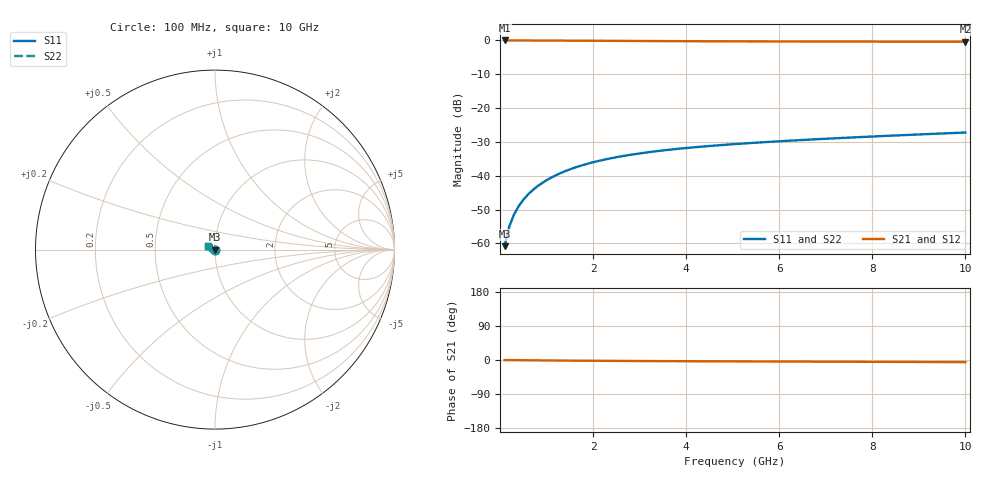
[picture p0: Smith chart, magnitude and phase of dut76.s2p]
! Touchstone file exported from HFSS 2024.1.0
!  File:  C:/UserFiles/LocalFiles/RDL_TSV_Batchsim/temp_TSV1_76_1779374478.aedt
!  Generated:  10:47:15 PM May 21, 2026
!  Design:  TSV1
!  Project:  temp_TSV1_76_1779374478
!  Setup:  Setup1
!  Solution:  Sweep
! Variables:
!  dtsv = 7.73um
!  hbump = 3um
!  htsv = 83.76um
!  lrdl = 252.1521522um
!  p = 40
!  p1 = 56.11um
!  t = 500um
!  trdl = 3um
!  wrdl = 24.89489489um
# GHz S MA R 50.000000
! Terminal data exported
! Port[1] = TSV22_T1
! Port[2] = TSV22_T2
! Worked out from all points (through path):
!   100 points, 100 MHz to 10 GHz, reference 50 ohm
!   highest |S21| = 0.00 dB at 100 MHz (marker M1); lowest = -0.4 dB at 10 GHz (marker M2)
!   lowest |S11| = -60.8 dB at 100 MHz (marker M3), VSWR 1.00, Z = 50 - j0.0884 ohm
!   |S11| at or under -10 dB: start of sweep to end of sweep
!   |S22| runs from -60.8 to -27.2 dB; largest |S21 - S12| = 5.4e-15
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0.1  0.0009087 -76.4  0.9997 -0.1  0.9997 -0.1  0.0009087 -76.4
! Gamma 0 0 0 0
! Port Impedance 50 0 50 0
0.2  0.001779 -86.3  0.9996 -0.2  0.9996 -0.2  0.001779 -86.3
0.3  0.002654 -91.1  0.9994 -0.4  0.9994 -0.4  0.002654 -91.1
0.4  0.003526 -94.7  0.9992 -0.5  0.9992 -0.5  0.003526 -94.7
0.5  0.004392 -97.6  0.9989 -0.6  0.9989 -0.6  0.004392 -97.6
0.6  0.005249 -100.3  0.9985 -0.7  0.9985 -0.7  0.005249 -100.3
0.7  0.006098 -102.9  0.9981 -0.8  0.9981 -0.8  0.006098 -102.9
0.8  0.006935 -105.3  0.9976 -0.9  0.9976 -0.9  0.006935 -105.3
0.9  0.007759 -107.6  0.9971 -1.0  0.9971 -1.0  0.007759 -107.6
1.1  0.009367 -112.1  0.9959 -1.3  0.9959 -1.3  0.009367 -112.1
1.4  0.01166 -118.4  0.9938 -1.5  0.9938 -1.5  0.01166 -118.4
1.6  0.01311 -122.5  0.9923 -1.7  0.9923 -1.7  0.01311 -122.5
1.8  0.01449 -126.4  0.9908 -1.9  0.9908 -1.9  0.01449 -126.4
2.1  0.01642 -131.9  0.9883 -2.1  0.9883 -2.1  0.01642 -131.9
2.5  0.01877 -138.8  0.9851 -2.4  0.9851 -2.4  0.01876 -138.8
2.9  0.02087 -145.2  0.982 -2.7  0.982 -2.7  0.02087 -145.2
3.4  0.0232 -152.6  0.9785 -2.9  0.9785 -2.9  0.0232 -152.6
4.2  0.02642 -162.9  0.9736 -3.3  0.9736 -3.3  0.02642 -162.9
5.1  0.02952 -172.9  0.9692 -3.7  0.9692 -3.7  0.02952 -172.9
6.7  0.03434 172.6  0.9637 -4.3  0.9637 -4.3  0.03434 172.6
8.4  0.03909 160.5  0.9598 -5.0  0.9598 -5.0  0.03909 160.5
10  0.0435 151.4  0.9573 -5.6  0.9573 -5.6  0.0435 151.4
